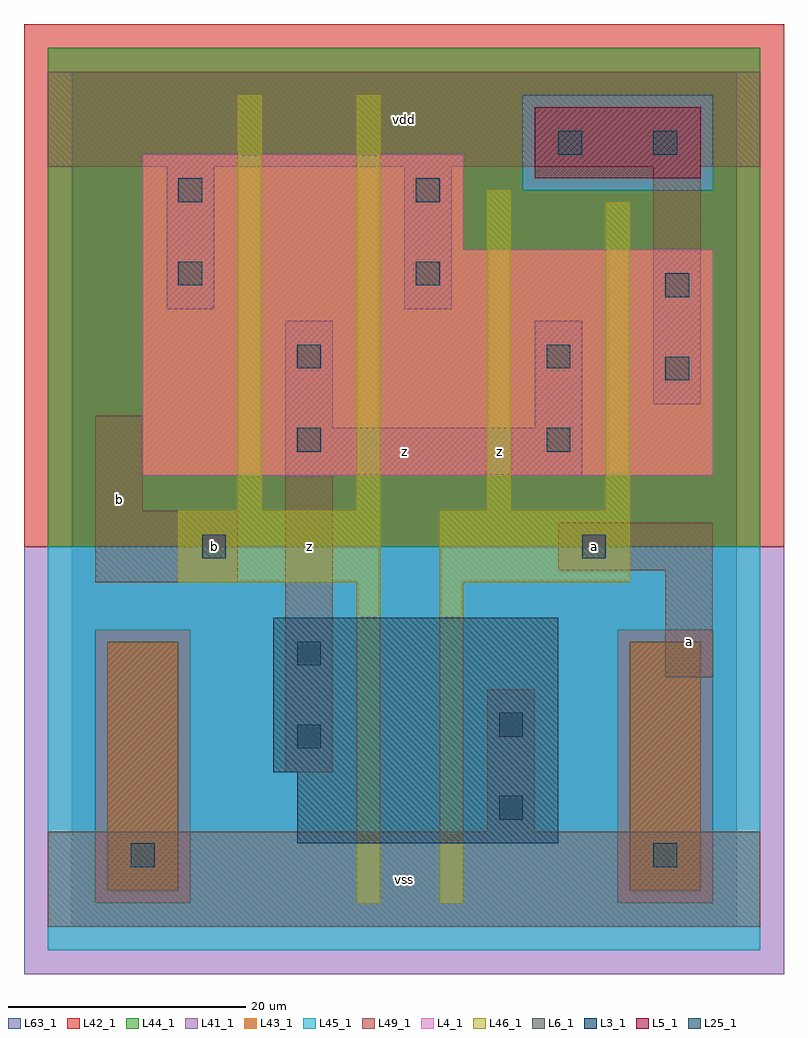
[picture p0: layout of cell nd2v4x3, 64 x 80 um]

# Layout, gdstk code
import gdstk
lib = gdstk.Library(unit=1e-6, precision=1e-09)
def R(c, l, rs):  # rectangles x0, y0, x1, y1
    for r in rs: c.add(gdstk.rectangle(r[:2], r[2:], *l))
L3_1 = (3, 1)
L4_1 = (4, 1)
L5_1 = (5, 1)
L6_1 = (6, 1)
L25_1 = (25, 1)
L41_1 = (41, 1)
L42_1 = (42, 1)
L43_1 = (43, 1)
L44_1 = (44, 1)
L45_1 = (45, 1)
L46_1 = (46, 1)
L49_1 = (49, 1)
L63_1 = (63, 1)

nd2v4x3 = lib.new_cell('nd2v4x3')
R(nd2v4x3, L3_1, [(19,7,41,13), (17,13,41,26)])
R(nd2v4x3, L4_1, [(6,38,54,57), (6,57,33,65)])
R(nd2v4x3, L5_1, [(39,63,53,69)])
R(nd2v4x3, L6_1, [(3,3,9,24), (3,3,9,24), (47,3,53,24), (47,3,53,24)])
R(nd2v4x3, L25_1, [(5,5,7,7), (49,5,51,7), (36,9,38,11), (19,15,21,17), (36,16,38,18), (19,22,21,24), (11,31,13,33), (43,31,45,33), (19,40,21,42), (40,40,42,42), (50,46,52,48), (19,47,21,49), (40,47,42,49), (50,53,52,55), (9,54,11,56), (29,54,31,56), (9,61,11,63), (29,61,31,63), (41,65,43,67), (49,65,51,67)])
R(nd2v4x3, L41_1, [(-4,-4,60,32)])
R(nd2v4x3, L42_1, [(-4,32,60,76)])
R(nd2v4x3, L43_1, [(3,3,9,24), (47,3,53,24), (19,7,41,13), (17,13,41,26), (6,38,54,57), (6,57,33,65), (39,63,53,69)])
R(nd2v4x3, L44_1, [(2,2,10,25), (46,2,54,25), (-2,32,58,62), (-2,62,38,70), (54,62,58,70), (-2,70,58,74)])
R(nd2v4x3, L45_1, [(-2,-2,58,2), (-2,2,2,25), (10,2,46,25), (54,2,58,25), (-2,25,58,32), (38,62,54,70)])
R(nd2v4x3, L46_1, [(24,2,26,29), (31,2,33,29), (9,29,26,35), (31,29,47,35), (14,35,16,70), (24,35,26,70), (35,35,37,62), (45,35,47,61)])
R(nd2v4x3, L49_1, [(-2,0,58,8), (35,8,39,20), (18,13,22,38), (50,21,54,30), (2,29,14,35), (41,30,54,34), (2,35,6,43), (18,38,43,42), (18,42,22,51), (39,42,43,51), (49,44,53,64), (8,52,12,64), (28,52,32,64), (-2,64,58,72)])
R(nd2v4x3, L63_1, [(0,0,56,72)])
nd2v4x3.add(gdstk.Label('b', (4,36), layer=49, texttype=1))
nd2v4x3.add(gdstk.Label('b', (12,32), layer=49, texttype=1))
nd2v4x3.add(gdstk.Label('z', (20,32), layer=49, texttype=1))
nd2v4x3.add(gdstk.Label('vss', (28,4), layer=49, texttype=1))
nd2v4x3.add(gdstk.Label('z', (36,40), layer=49, texttype=1))
nd2v4x3.add(gdstk.Label('z', (28,40), layer=49, texttype=1))
nd2v4x3.add(gdstk.Label('vdd', (28,68), layer=49, texttype=1))
nd2v4x3.add(gdstk.Label('a', (44,32), layer=49, texttype=1))
nd2v4x3.add(gdstk.Label('a', (52,24), layer=49, texttype=1))

lib.write_gds('nd2v4x3.gds')
